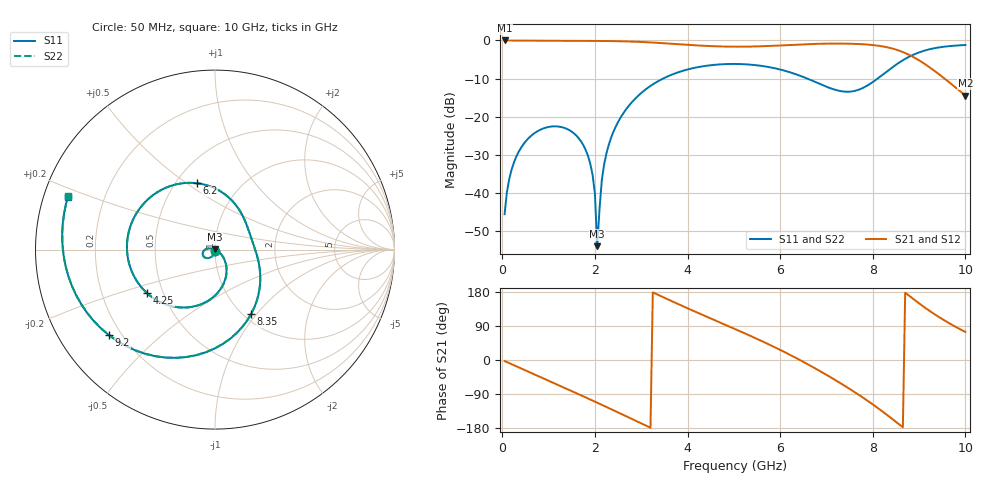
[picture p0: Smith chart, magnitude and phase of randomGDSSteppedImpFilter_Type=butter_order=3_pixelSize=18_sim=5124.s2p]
! freq	dB(S11)	phase(S11)	dB(S12)	phase(S12)
!  dB(S21)	phase(S21)	dB(S22)	phase(S22)
!S-par simulation data
#  GHz  S  DB  R 50
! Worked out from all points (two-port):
!   200 points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, 50 MHz to 10 GHz, reference 50 ohm
!   highest |S21| = 0.00 dB at 50 MHz (marker M1); lowest = -14.5 dB at 10 GHz (marker M2)
!   |S21| within 3 dB of the highest: start of sweep to 8.64 GHz
!   lowest |S11| = -54.0 dB at 2.05 GHz (marker M3), VSWR 1.00, Z = 49.8 + j0.0804 ohm
!   |S11| at or under -10 dB: start of sweep to 3.474 GHz; 6.582 GHz to 8.105 GHz (1.524 GHz wide, 20.8 % of centre)
!   |S22| runs from -52.7 to -1.2 dB; largest |S21 - S12| = 0
!   S11 on the Smith chart (normalised r, x): 50 MHz: 1.00, -0.01; 4.25 GHz: 0.41, -0.25; 6.2 GHz: 0.63, +0.55; 8.35 GHz: 1.09, -0.94; 9.2 GHz: 0.15, -0.35; 10 GHz: 0.07, +0.17
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0.05  -45.63 -90.3  -0.00 -2.8  -0.00 -2.8  -45.63 -90.3
0.25  -32.08 -103.3  -0.02 -13.8  -0.02 -13.8  -32.08 -103.4
0.6  -25.29 -123.4  -0.06 -32.9  -0.06 -32.9  -25.29 -123.5
1.25  -22.68 -159.1  -0.10 -68.3  -0.10 -68.3  -22.68 -159.5
1.75  -27.50 173.3  -0.12 -95.9  -0.12 -95.9  -27.50 172.1
1.95  -35.33 162.0  -0.12 -107.1  -0.12 -107.1  -35.32 158.7
2  -40.21 159.2  -0.13 -109.9  -0.13 -109.9  -40.17 153.1
2.05  -54.02 156.1  -0.13 -112.7  -0.13 -112.7  -52.69 121.8
2.15  -36.60 -29.2  -0.14 -118.3  -0.14 -118.3  -36.57 -24.8
2.35  -25.54 -40.6  -0.16 -129.7  -0.16 -129.7  -25.53 -39.3
2.75  -16.90 -63.6  -0.28 -152.8  -0.28 -152.8  -16.90 -63.0
3.4  -10.46 -100.7  -0.67 169.9  -0.67 169.9  -10.46 -100.4
4.25  -6.95 -147.2  -1.34 123.0  -1.34 123.0  -6.95 -147.1
5.05  -6.18 170.7  -1.64 80.4  -1.64 80.4  -6.18 170.7
6.2  -8.31 105.5  -1.19 14.4  -1.19 14.4  -8.31 105.4
6.7  -10.60 73.3  -0.93 -18.2  -0.93 -18.2  -10.60 73.1
7.6  -13.28 6.9  -0.90 -84.0  -0.90 -84.0  -13.28 6.8
7.95  -11.34 -23.2  -1.15 -112.8  -1.15 -112.8  -11.34 -23.3
8.35  -7.72 -60.6  -1.90 -148.9  -1.90 -148.9  -7.72 -60.7
8.8  -4.19 -104.4  -3.88 168.1  -3.88 168.1  -4.19 -104.6
9.2  -2.39 -141.0  -6.82 131.9  -6.82 131.9  -2.40 -141.2
10  -1.20 160.3  -14.47 74.0  -14.47 74.0  -1.20 159.9
